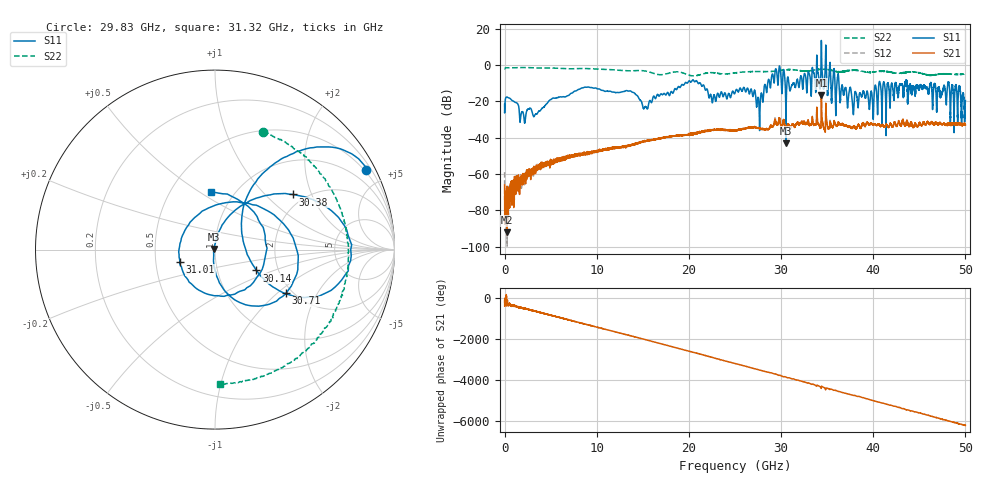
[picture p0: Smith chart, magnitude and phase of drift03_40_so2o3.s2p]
!Created with skrf (http://scikit-rf.org).
# Hz S RI R 50.0
!freq ReS11 ImS11 ReS21 ImS21 ReS12 ImS12 ReS22 ImS22
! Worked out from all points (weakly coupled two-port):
!   10001 points, 300 kHz to 50 GHz, reference 50 ohm
!   highest |S21| = -16.70 dB at 34.38 GHz (marker M1); lowest = -91.9 dB at 230.3 MHz (marker M2)
!   lowest |S11| = -43.0 dB at 30.53 GHz (marker M3), VSWR 1.01, Z = 49.4 + j0.308 ohm
!   |S11| at or under -10 dB: start of sweep to 19.55 GHz; 21.25 GHz to 28.55 GHz (7.296 GHz wide, 29.3 % of centre); 36.28 GHz to 40.62 GHz (4.338 GHz wide, 11.3 % of centre) (the widest 3 of 39)
!   |S22| runs from -5.9 to -1.3 dB; largest |S21 - S12| = 0.025
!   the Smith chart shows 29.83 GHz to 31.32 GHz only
!   S11 on the Smith chart (normalised r, x): 29.83 GHz: 0.41, +4.01; 30.14 GHz: 1.54, -0.38; 30.38 GHz: 1.73, +1.48; 30.71 GHz: 1.85, -1.15; 31.01 GHz: 0.67, -0.10; 31.32 GHz: 0.78, +0.56
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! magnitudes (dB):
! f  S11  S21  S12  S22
! 300 kHz  -21.6  -66.0  -58.8  -2.1
! 230.3 MHz  -17.6  -91.9  -78.1  -1.4
! 3.3 GHz  -27.3  -58.2  -58.7  -1.5
! 8.335 GHz  -12.6  -48.9  -49.0  -1.9
! 15.29 GHz  -22.8  -41.8  -41.7  -3.3
! 16.67 GHz  -16.5  -40.5  -40.4  -5.2
! 20.26 GHz  -9.2  -37.8  -38.1  -5.8
! 22.71 GHz  -16.5  -35.7  -35.6  -4.2
! 25 GHz  -15.3  -36.0  -35.9  -4.3
! 27.53 GHz  -17.8  -34.7  -34.5  -3.5
! 29.83 GHz  -0.4  -29.1  -28.6  -3.0
! 30.14 GHz  -11.8  -33.3  -33.5  -2.8
! 30.38 GHz  -5.5  -32.0  -32.3  -2.6
! 30.53 GHz  -43.0  -34.0  -34.1  -2.5
! 30.71 GHz  -6.7  -33.0  -32.7  -2.5
! 31.01 GHz  -13.7  -34.2  -34.2  -2.4
! 31.32 GHz  -9.9  -32.4  -32.5  -2.5
! 33.34 GHz  -7.5  -31.4  -31.3  -2.9
! 34.38 GHz  13.0  -16.7  -18.1  -2.3
! 37.85 GHz  -27.3  -33.8  -34.2  -2.8
! 41.67 GHz  -11.6  -34.1  -34.0  -3.7
! 50 GHz  -19.5  -33.0  -33.0  -5.0
